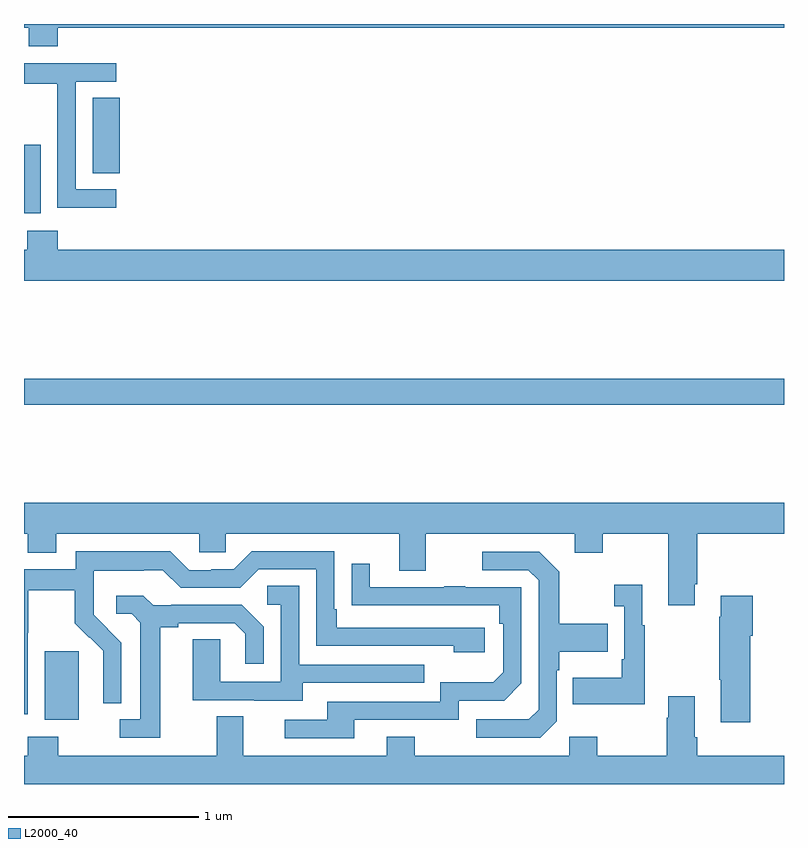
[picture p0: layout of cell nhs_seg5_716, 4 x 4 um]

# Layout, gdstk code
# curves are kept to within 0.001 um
import gdstk
lib = gdstk.Library(unit=1e-6, precision=1e-09)
def R(c, l, rs):  # rectangles x0, y0, x1, y1
    for r in rs: c.add(gdstk.rectangle(r[:2], r[2:], *l))
def P(c, l, *ps):  # polygons
    for p in ps: c.add(gdstk.Polygon(p, *l))
L2000_40 = (2000, 40)

nhs_seg5_716 = lib.new_cell('nhs_seg5_716')
R(nhs_seg5_716, L2000_40, [(157.109,833.138,157.288,833.499), (157,834.796,161,834.932), (157,835.802,157.087,836.163), (157.361,836.014,157.505,836.411)])
P(nhs_seg5_716, L2000_40, [(157,836.78),(157.025,836.78),(157.025,836.681),(157.178,836.681),(157.178,836.78),(161,836.78),(161,836.799),(157,836.799)],
  [(157.486,835.929),(157.272,835.929),(157.272,836.496),(157.486,836.496),(157.486,836.592),(157,836.592),(157,836.484),(157.174,836.484),(157.174,836.26),(157.176,836.26),(157.176,835.831),(157.486,835.831)],
  [(161,835.612),(157.178,835.612),(157.178,835.711),(157.018,835.711),(157.018,835.612),(157,835.612),(157,835.448),(161,835.448)],
  [(160.531,833.851),(160.544,833.851),(160.544,834.116),(161,834.116),(161,834.28),(157,834.28),(157,834.116),(157.019,834.116),(157.019,834.017),(157.171,834.017),(157.171,834.116),(157.923,834.116),(157.923,834.018),(158.061,834.018),(158.061,834.116),(158.975,834.116),(158.975,833.922),(159.115,833.922),(159.115,834.116),(159.899,834.116),(159.899,834.017),(160.047,834.017),(160.047,834.116),(160.391,834.116),(160.391,833.739),(160.531,833.739)],
  [(157.02,833.596),(157.023,833.596),(157.023,833.82),(157.267,833.82),(157.267,833.645),(157.344,833.568),(157.347,833.571),(157.418,833.501),(157.418,833.378),(157.416,833.378),(157.416,833.224),(157.512,833.224),(157.512,833.542),(157.366,833.69),(157.366,833.787),(157.368,833.787),(157.368,833.921),(157.631,833.921),(157.631,833.925),(157.731,833.925),(157.824,833.832),(158.139,833.832),(158.235,833.928),(158.538,833.928),(158.538,833.526),(159.263,833.526),(159.263,833.492),(159.424,833.492),(159.424,833.622),(158.647,833.622),(158.647,833.719),(158.634,833.719),(158.634,834.024),(158.199,834.024),(158.103,833.928),(157.985,833.928),(157.985,833.925),(157.869,833.925),(157.769,834.025),(157.272,834.025),(157.272,833.928),(157,833.928),(157,833.167),(157.02,833.167)],
  [(159.804,833.13),(159.804,833.399),(159.817,833.399),(159.817,833.495),(160.073,833.495),(160.073,833.643),(159.817,833.643),(159.817,833.915),(159.711,834.021),(159.411,834.021),(159.411,833.925),(159.654,833.925),(159.708,833.871),(159.708,833.19),(159.657,833.139),(159.381,833.139),(159.381,833.043),(159.717,833.043)],
  [(158.737,833.136),(159.288,833.136),(159.288,833.238),(159.528,833.238),(159.618,833.328),(159.618,833.835),(159.323,833.835),(159.323,833.84),(159.211,833.84),(159.211,833.835),(158.821,833.835),(158.821,833.959),(158.725,833.959),(158.725,833.74),(159.502,833.739),(159.502,833.642),(159.522,833.642),(159.522,833.388),(159.469,833.335),(159.192,833.335),(159.192,833.232),(158.597,833.232),(158.597,833.136),(158.373,833.136),(158.373,833.04),(158.737,833.04)],
  [(160.267,833.635),(160.255,833.635),(160.255,833.848),(160.107,833.848),(160.107,833.735),(160.158,833.735),(160.158,833.455),(160.146,833.455),(160.146,833.359),(159.889,833.359),(159.889,833.219),(160.267,833.219)],
  [(158.467,833.331),(159.107,833.331),(159.107,833.427),(158.448,833.427),(158.448,833.843),(158.28,833.843),(158.28,833.742),(158.352,833.742),(158.352,833.337),(158.034,833.337),(158.034,833.561),(157.889,833.561),(157.889,833.241),(158.213,833.241),(158.213,833.237),(158.467,833.237)],
  [(157.717,833.624),(157.813,833.624),(157.813,833.646),(158.108,833.646),(158.165,833.589),(158.165,833.433),(158.262,833.433),(158.262,833.626),(158.146,833.742),(157.774,833.742),(157.774,833.739),(157.68,833.739),(157.628,833.791),(157.485,833.791),(157.485,833.694),(157.566,833.694),(157.613,833.647),(157.613,833.139),(157.503,833.139),(157.503,833.043),(157.717,833.043)],
  [(160.822,833.578),(160.835,833.578),(160.835,833.791),(160.667,833.791),(160.667,833.678),(160.66,833.678),(160.66,833.347),(160.667,833.347),(160.667,833.124),(160.822,833.124)],
  [(161,832.948),(160.544,832.948),(160.544,833.044),(160.531,833.044),(160.531,833.26),(160.391,833.26),(160.391,833.147),(160.384,833.147),(160.384,832.948),(160.017,832.948),(160.017,833.047),(159.87,833.047),(159.87,832.948),(159.057,832.948),(159.057,833.047),(158.909,833.047),(158.909,832.948),(158.155,832.948),(158.155,833.156),(158.015,833.156),(158.015,832.948),(157.179,832.948),(157.179,833.047),(157.019,833.047),(157.019,832.948),(157,832.948),(157,832.799),(161,832.799)])

lib.write_gds('nhs_seg5_716.gds')
